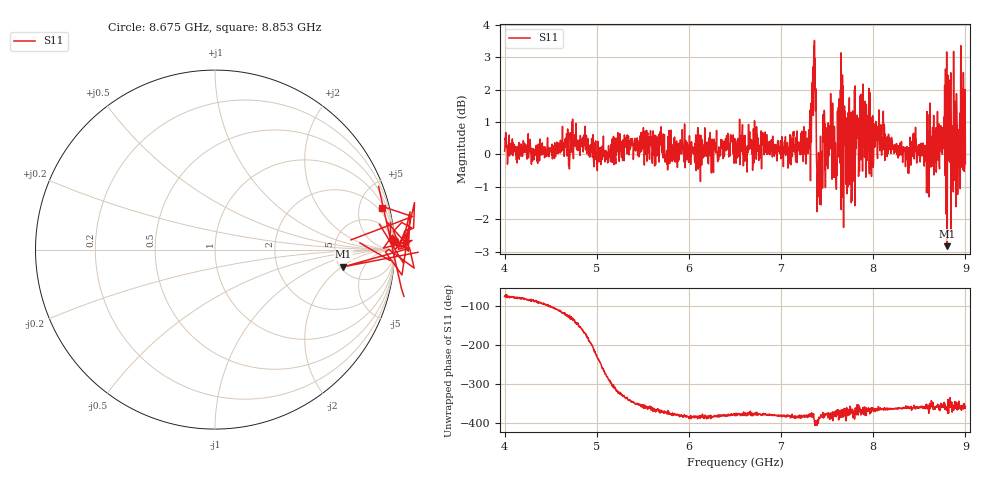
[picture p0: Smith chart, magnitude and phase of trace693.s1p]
! Created with skrf 1.8.0 (http://scikit-rf.org).
# Hz S RI R 50.0
!freq ReS11 ImS11
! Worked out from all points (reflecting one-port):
!   1601 points, 4 GHz to 9 GHz, reference 50 ohm
!   lowest |S11| = -2.8 dB at 8.803 GHz (marker M1), VSWR 6.19, Z = 266 - j106 ohm
!   phase of S11 starts at -75 deg and turns -282 deg over the sweep
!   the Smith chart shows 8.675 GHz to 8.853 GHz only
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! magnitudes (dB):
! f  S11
! 4 GHz  0.1
! 4.625 GHz  0.4
! 5.25 GHz  0.6
! 5.709 GHz  0.0
! 5.753 GHz  -0.1
! 5.875 GHz  -0.4
! 6.5 GHz  0.3
! 7.125 GHz  0.2
! 7.294 GHz  0.3
! 7.356 GHz  3.3
! 7.412 GHz  -1.0
! 7.478 GHz  0.9
! 7.556 GHz  0.0
! 7.591 GHz  0.3
! 7.65 GHz  3.1
! 7.75 GHz  -0.9
! 7.769 GHz  -1.1
! 7.812 GHz  0.7
! 7.928 GHz  0.9
! 7.981 GHz  -0.7
! 8.038 GHz  0.4
! 8.375 GHz  -0.2
! 8.441 GHz  0.1
! 8.581 GHz  -0.9
! 8.803 GHz  -2.8
! 8.869 GHz  -1.2
! 8.972 GHz  0.5
! 9 GHz  -0.3
